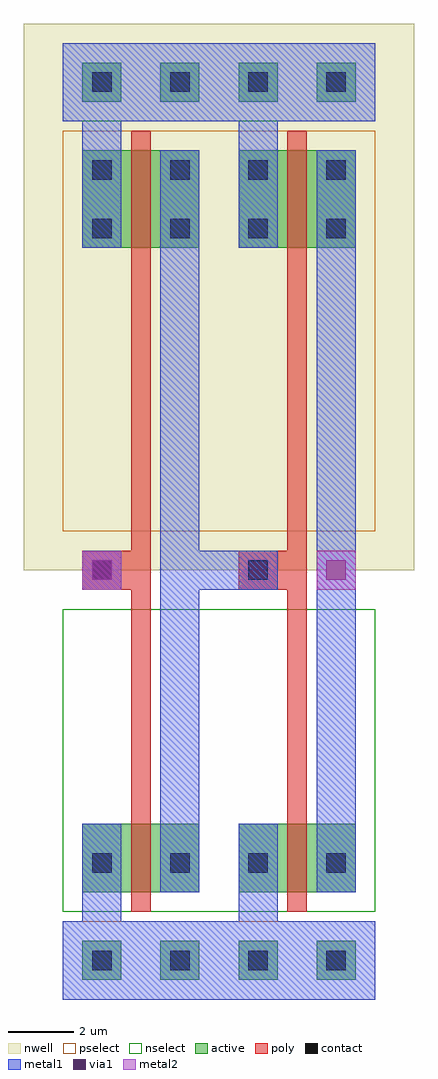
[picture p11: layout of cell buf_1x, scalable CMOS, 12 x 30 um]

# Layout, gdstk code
import gdstk
lib = gdstk.Library(unit=1e-6, precision=1e-09)
def R(c, l, rs):  # rectangles x0, y0, x1, y1
    for r in rs: c.add(gdstk.rectangle(r[:2], r[2:], *l))
def A(c, l, x, y, w, h, nx, ny, dx, dy):  # array of equal rectangles
    R(c, l, [(x+i*dx, y+j*dy, x+i*dx+w, y+j*dy+h) for i in range(nx) for j in range(ny)])
contact = (25, 0)
nwell = (42, 0)
active = (43, 0)
pselect = (44, 0)
nselect = (45, 0)
poly = (46, 0)
metal1 = (49, 0)
via1 = (50, 0)
metal2 = (51, 0)

buf_1x = lib.new_cell('buf_1x')
A(buf_1x, contact, 0.9, -0.3, 0.6, 0.6, 4, 2, 2.4, 3)
A(buf_1x, contact, 0.9, 22.2, 0.6, 0.6, 4, 2, 2.4, 1.8)
A(buf_1x, contact, 0.9, 26.7, 0.6, 0.6, 4, 1, 2.4, 0)
R(buf_1x, contact, [(0.9,11.7,1.5,12.3), (5.7,11.7,6.3,12.3)])
R(buf_1x, nwell, [(-1.2,12,10.8,28.8)])
A(buf_1x, active, 0.6, -0.6, 1.2, 1.2, 4, 2, 2.4, 27)
R(buf_1x, active, [(0.6,2.1,4.2,4.2), (5.4,2.1,9,4.2), (0.6,21.9,4.2,24.9), (5.4,21.9,9,24.9)])
R(buf_1x, pselect, [(0,-1.2,9.6,1.2), (0,13.2,9.6,25.5)])
R(buf_1x, nselect, [(0,1.5,9.6,10.8), (0,25.8,9.6,28.2)])
R(buf_1x, poly, [(2.1,1.5,2.7,25.5), (6.9,1.5,7.5,25.5), (0.6,11.4,2.1,12.6), (5.4,11.4,6.9,12.6)])
R(buf_1x, metal1, [(0,-1.2,9.6,1.2), (0,-1.2,9.6,1.2), (0.6,1.2,1.8,4.2), (5.4,1.2,6.6,4.2), (3,2.1,4.2,24.9), (7.8,2.1,9,24.9), (0.6,11.4,1.8,12.6), (4.2,11.4,6.6,12.6), (0.6,21.9,1.8,25.8), (5.4,21.9,6.6,25.8), (0,25.8,9.6,28.2), (0,25.8,9.6,28.2)])
R(buf_1x, via1, [(0.9,11.7,1.5,12.3), (8.1,11.7,8.7,12.3)])
R(buf_1x, metal2, [(0.6,11.4,1.8,12.6), (0.6,11.4,1.8,12.6), (7.8,11.4,9,12.6), (7.8,11.4,9,12.6)])

lib.write_gds('buf_1x.gds')
